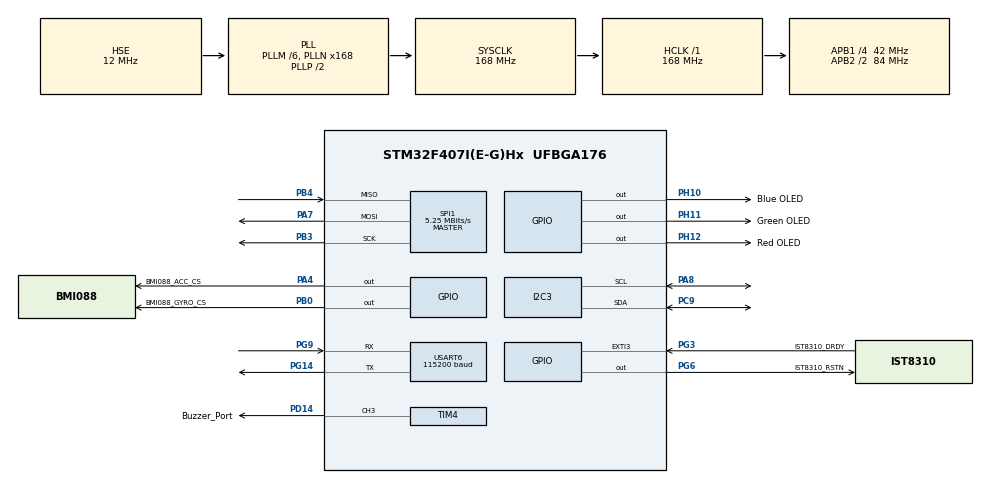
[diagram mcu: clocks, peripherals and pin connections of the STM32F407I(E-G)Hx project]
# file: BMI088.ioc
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Dma.Request0=SPI1_RX
Dma.Request1=SPI1_TX
Dma.Request2=I2C3_RX
Dma.Request3=I2C3_TX
Dma.SPI1_RX.0.Direction=DMA_PERIPH_TO_MEMORY
Dma.SPI1_RX.0.FIFOMode=DMA_FIFOMODE_DISABLE
Dma.SPI1_RX.0.Instance=DMA2_Stream0
Dma.SPI1_RX.0.MemDataAlignment=DMA_MDATAALIGN_BYTE
Dma.SPI1_RX.0.MemInc=DMA_MINC_ENABLE
Dma.SPI1_RX.0.Mode=DMA_NORMAL
Dma.SPI1_RX.0.PeriphDataAlignment=DMA_PDATAALIGN_BYTE
Dma.SPI1_RX.0.PeriphInc=DMA_PINC_DISABLE
Dma.SPI1_RX.0.Priority=DMA_PRIORITY_HIGH
Dma.SPI1_TX.1.Direction=DMA_MEMORY_TO_PERIPH
Dma.SPI1_TX.1.FIFOMode=DMA_FIFOMODE_DISABLE
Dma.SPI1_TX.1.Instance=DMA2_Stream3
Dma.SPI1_TX.1.MemDataAlignment=DMA_MDATAALIGN_BYTE
Dma.SPI1_TX.1.MemInc=DMA_MINC_ENABLE
Dma.SPI1_TX.1.Mode=DMA_NORMAL
Dma.SPI1_TX.1.PeriphDataAlignment=DMA_PDATAALIGN_BYTE
Dma.SPI1_TX.1.PeriphInc=DMA_PINC_DISABLE
Dma.SPI1_TX.1.Priority=DMA_PRIORITY_HIGH
Dma.I2C3_RX.2.Direction=DMA_PERIPH_TO_MEMORY
Dma.I2C3_RX.2.FIFOMode=DMA_FIFOMODE_DISABLE
Dma.I2C3_RX.2.Instance=DMA1_Stream2
Dma.I2C3_RX.2.MemDataAlignment=DMA_MDATAALIGN_BYTE
Dma.I2C3_RX.2.MemInc=DMA_MINC_ENABLE
Dma.I2C3_RX.2.Mode=DMA_NORMAL
Dma.I2C3_RX.2.PeriphDataAlignment=DMA_PDATAALIGN_BYTE
Dma.I2C3_RX.2.PeriphInc=DMA_PINC_DISABLE
Dma.I2C3_RX.2.Priority=DMA_PRIORITY_HIGH
Dma.I2C3_TX.3.Direction=DMA_MEMORY_TO_PERIPH
Dma.I2C3_TX.3.FIFOMode=DMA_FIFOMODE_DISABLE
Dma.I2C3_TX.3.Instance=DMA1_Stream4
Dma.I2C3_TX.3.MemDataAlignment=DMA_MDATAALIGN_BYTE
Dma.I2C3_TX.3.MemInc=DMA_MINC_ENABLE
Dma.I2C3_TX.3.Mode=DMA_NORMAL
Dma.I2C3_TX.3.PeriphDataAlignment=DMA_PDATAALIGN_BYTE
Dma.I2C3_TX.3.PeriphInc=DMA_PINC_DISABLE
Dma.I2C3_TX.3.Priority=DMA_PRIORITY_HIGH
I2C3.I2C_Mode=I2C_Fast
Mcu.Family=STM32F4
Mcu.Name=STM32F407I(E-G)Hx
Mcu.Package=UFBGA176
NVIC.DMA1_Stream2_IRQn=true\:5\:0\:true\:false\:false\:false\:true\:true
NVIC.DMA1_Stream4_IRQn=true\:5\:0\:true\:false\:false\:false\:true\:true
NVIC.DMA2_Stream0_IRQn=true\:5\:0\:true\:false\:false\:false\:true\:true
NVIC.DMA2_Stream3_IRQn=true\:4\:0\:true\:false\:false\:false\:true\:true
NVIC.EXTI3_IRQn=true\:5\:0\:true\:false\:true\:true\:true\:true
NVIC.I2C3_ER_IRQn=true\:5\:0\:true\:false\:true\:true\:true\:true
NVIC.I2C3_EV_IRQn=true\:5\:0\:true\:false\:true\:true\:true\:true
NVIC.PriorityGroup=NVIC_PRIORITYGROUP_4
NVIC.SPI1_IRQn=true\:5\:0\:true\:false\:true\:true\:true\:true
NVIC.TIM8_UP_TIM13_IRQn=true\:5\:0\:false\:false\:true\:true\:true\:true\:true
PA13.Mode=Serial_Wire
PA13.Signal=SYS_JTMS-SWDIO
PA14.Mode=Serial_Wire
PA14.Signal=SYS_JTCK-SWCLK
PA4.GPIO_Label=BMI088_ACC_CS
PA4.GPIO_ModeDefaultOutputPP=GPIO_MODE_OUTPUT_PP
PA4.GPIO_PuPd=GPIO_NOPULL
PA4.PinState=GPIO_PIN_SET
PA4.Signal=GPIO_Output
PA7.Mode=Full_Duplex_Master
PA7.Signal=SPI1_MOSI
PA8.Mode=I2C
PA8.Signal=I2C3_SCL
PB0.GPIO_Label=BMI088_GYRO_CS
PB0.GPIO_ModeDefaultOutputPP=GPIO_MODE_OUTPUT_PP
PB0.GPIO_PuPd=GPIO_NOPULL
PB0.PinState=GPIO_PIN_SET
PB0.Signal=GPIO_Output
PB3.Mode=Full_Duplex_Master
PB3.Signal=SPI1_SCK
PB4.Mode=Full_Duplex_Master
PB4.Signal=SPI1_MISO
PC9.Mode=I2C
PC9.Signal=I2C3_SDA
PD14.GPIO_Label=Buzzer_Port
PD14.Signal=S_TIM4_CH3
PG14.Mode=Asynchronous
PG14.Signal=USART6_TX
PG6.GPIO_Label=IST8310_RSTN
PG6.GPIO_ModeDefaultOutputPP=GPIO_MODE_OUTPUT_PP
PG6.GPIO_PuPd=GPIO_PULLUP
PG6.GPIO_Speed=GPIO_SPEED_FREQ_MEDIUM
PG6.PinState=GPIO_PIN_SET
PG6.Signal=GPIO_Output
PG3.GPIO_Label=IST8310_DRDY
PG3.GPIO_ModeDefaultEXTI=GPIO_MODE_IT_RISING
PG3.GPIO_PuPd=GPIO_NOPULL
PG3.Signal=GPXTI3
PG9.Mode=Asynchronous
PG9.Signal=USART6_RX
PH0-OSC_IN.Mode=HSE-External-Oscillator
PH0-OSC_IN.Signal=RCC_OSC_IN
PH1-OSC_OUT.Mode=HSE-External-Oscillator
PH1-OSC_OUT.Signal=RCC_OSC_OUT
PH10.GPIO_Label=Blue OLED
PH10.Signal=GPIO_Output
PH11.GPIO_Label=Green OLED
PH11.Signal=GPIO_Output
PH12.GPIO_Label=Red OLED
PH12.Signal=GPIO_Output
ProjectManager.HeapSize=0x200
ProjectManager.StackSize=0x400
ProjectManager.TargetToolchain=CMake
RCC.48MHZClocksFreq_Value=48000000
RCC.AHBFreq_Value=168000000
RCC.APB1CLKDivider=RCC_HCLK_DIV4
RCC.APB1Freq_Value=42000000
RCC.APB1TimFreq_Value=84000000
RCC.APB2CLKDivider=RCC_HCLK_DIV2
RCC.APB2Freq_Value=84000000
RCC.APB2TimFreq_Value=168000000
RCC.CortexFreq_Value=168000000
RCC.HCLKFreq_Value=168000000
RCC.HSE_VALUE=12000000
RCC.HSI_VALUE=16000000
RCC.LSE_VALUE=32768
RCC.PLLM=6
RCC.PLLN=168
RCC.PLLQ=7
RCC.PLLSourceVirtual=RCC_PLLSOURCE_HSE
RCC.SYSCLKFreq_VALUE=168000000
RCC.SYSCLKSource=RCC_SYSCLKSOURCE_PLLCLK
RCC.VCOOutputFreq_Value=336000000
SH.S_TIM4_CH3.0=TIM4_CH3,PWM Generation3 CH3
SPI1.BaudRatePrescaler=SPI_BAUDRATEPRESCALER_16
SPI1.CalculateBaudRate=5.25 MBits/s
SPI1.Direction=SPI_DIRECTION_2LINES
SPI1.Mode=SPI_MODE_MASTER
SPI1.VirtualType=VM_MASTER
TIM4.Channel-PWM\ Generation3\ CH3=TIM_CHANNEL_3
TIM4.Prescaler=84-1
TIM8.Period=999
TIM8.Prescaler=167
USART6.BaudRate=115200
USART6.VirtualMode=VM_ASYNC
VP_TIM8_VS_ClockSourceINT.Mode=Internal
board=custom

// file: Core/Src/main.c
/* USER CODE BEGIN Header */
/**
  ******************************************************************************
  * @file           : main.c
  * @brief          : Main program body
  ******************************************************************************
  * @attention
  *
  * Copyright (c) 2026 STMicroelectronics.
  * All rights reserved.
  *
  * This software is licensed under terms that can be found in the LICENSE file
  * in the root directory of this software component.
  * If no LICENSE file comes with this software, it is provided AS-IS.
  *
  ******************************************************************************
  */
/* USER CODE END Header */
#include "main.h"

/* USER CODE BEGIN Includes */
#include "BMI088.h"
#include "IST8310.h"
#include "Attitude.h"

/* USER CODE END Includes */

I2C_HandleTypeDef hi2c3;
DMA_HandleTypeDef hdma_i2c3_rx;
DMA_HandleTypeDef hdma_i2c3_tx;

SPI_HandleTypeDef hspi1;
DMA_HandleTypeDef hdma_spi1_rx;
DMA_HandleTypeDef hdma_spi1_tx;

TIM_HandleTypeDef htim4;
TIM_HandleTypeDef htim8;

UART_HandleTypeDef huart6;

/* USER CODE BEGIN PV */
static BMI088_Data_t BMI088_DATA;
static IST8310_Data_t MAG_DATA;
static Attitude_StartupAverage_t STARTUP_AVERAGE;
static Attitude_Data_t ATTITUDE_DATA;
static uint8_t BMI088_STATUS;
static uint8_t IST8310_STATUS;

/* USER CODE END PV */

void SystemClock_Config(void);
static void MX_GPIO_Init(void);
static void MX_DMA_Init(void);
static void MX_I2C3_Init(void);
static void MX_SPI1_Init(void);
static void MX_USART6_UART_Init(void);
static void MX_TIM4_Init(void);
static void MX_TIM8_Init(void);

int main(void)
{

  /* MCU Configuration--------------------------------------------------------*/

  /* Reset of all peripherals, Initializes the Flash interface and the Systick. */
  HAL_Init();

  /* Configure the system clock */
  SystemClock_Config();

  /* Initialize all configured peripherals */
  MX_GPIO_Init();
  MX_DMA_Init();
  MX_I2C3_Init();
  MX_SPI1_Init();
  MX_USART6_UART_Init();
  MX_TIM4_Init();
  MX_TIM8_Init();
  /* USER CODE BEGIN 2 */
  BMI088_STATUS = BMI088_Init(&hspi1);
  if (BMI088_STATUS != BMI088_OK)
  {
    Error_Handler();
  }

  HAL_Delay(500u);
  BMI088_STATUS = BMI088_CalibrateGyro(2000u);
  if (BMI088_STATUS != BMI088_OK)
  {
    Error_Handler();
  }

  IST8310_STATUS = IST8310_Init(&hi2c3);
  if (IST8310_STATUS != IST8310_OK)
  {
    Error_Handler();
  }

  Attitude_Init();

  if (HAL_TIM_Base_Start_IT(&htim8) != HAL_OK)
  {
    Error_Handler();
  }

  if (Attitude_CollectStartupAverage(&STARTUP_AVERAGE) == 0u)
  {
    Error_Handler();
  }

  if (Attitude_InitializeQuaternion(&STARTUP_AVERAGE) == 0u)
  {
    Error_Handler();
  }

  /* USER CODE END 2 */

  /* Infinite loop */
  /* USER CODE BEGIN WHILE */
  while (1)
  {
    IST8310_Update();

    if (BMI088_IsSampleReady() != 0u)
    {
      const IST8310_Data_t *mag = NULL;

      BMI088_ProcessSample();
      BMI088_GetData(&BMI088_DATA);

      if (IST8310_GetValidData(&MAG_DATA) != 0u)
      {
        mag = &MAG_DATA;
      }

      Attitude_Update(&BMI088_DATA, mag, 0.001f);
      Attitude_GetData(&ATTITUDE_DATA);
    }

    /* USER CODE END WHILE */

  }
}

void SystemClock_Config(void)
{
  RCC_OscInitTypeDef RCC_OscInitStruct = {0};
  RCC_ClkInitTypeDef RCC_ClkInitStruct = {0};

  /** Configure the main internal regulator output voltage
  */
  __HAL_RCC_PWR_CLK_ENABLE();
  __HAL_PWR_VOLTAGESCALING_CONFIG(PWR_REGULATOR_VOLTAGE_SCALE1);

  /** Initializes the RCC Oscillators according to the specified parameters
  * in the RCC_OscInitTypeDef structure.
  */
  RCC_OscInitStruct.OscillatorType = RCC_OSCILLATORTYPE_HSE;
  RCC_OscInitStruct.HSEState = RCC_HSE_ON;
  RCC_OscInitStruct.PLL.PLLState = RCC_PLL_ON;
  RCC_OscInitStruct.PLL.PLLSource = RCC_PLLSOURCE_HSE;
  RCC_OscInitStruct.PLL.PLLM = 6;
  RCC_OscInitStruct.PLL.PLLN = 168;
  RCC_OscInitStruct.PLL.PLLP = RCC_PLLP_DIV2;
  RCC_OscInitStruct.PLL.PLLQ = 7;
  if (HAL_RCC_OscConfig(&RCC_OscInitStruct) != HAL_OK)
  {
    Error_Handler();
  }

  /** Initializes the CPU, AHB and APB buses clocks
  */
  RCC_ClkInitStruct.ClockType = RCC_CLOCKTYPE_HCLK|RCC_CLOCKTYPE_SYSCLK
                              |RCC_CLOCKTYPE_PCLK1|RCC_CLOCKTYPE_PCLK2;
  RCC_ClkInitStruct.SYSCLKSource = RCC_SYSCLKSOURCE_PLLCLK;
  RCC_ClkInitStruct.AHBCLKDivider = RCC_SYSCLK_DIV1;
  RCC_ClkInitStruct.APB1CLKDivider = RCC_HCLK_DIV4;
  RCC_ClkInitStruct.APB2CLKDivider = RCC_HCLK_DIV2;

  if (HAL_RCC_ClockConfig(&RCC_ClkInitStruct, FLASH_LATENCY_5) != HAL_OK)
  {
    Error_Handler();
  }
}

static void MX_I2C3_Init(void)
{

  hi2c3.Instance = I2C3;
  hi2c3.Init.ClockSpeed = 400000;
  hi2c3.Init.DutyCycle = I2C_DUTYCYCLE_2;
  hi2c3.Init.OwnAddress1 = 0;
  hi2c3.Init.AddressingMode = I2C_ADDRESSINGMODE_7BIT;
  hi2c3.Init.DualAddressMode = I2C_DUALADDRESS_DISABLE;
  hi2c3.Init.OwnAddress2 = 0;
  hi2c3.Init.GeneralCallMode = I2C_GENERALCALL_DISABLE;
  hi2c3.Init.NoStretchMode = I2C_NOSTRETCH_DISABLE;
  if (HAL_I2C_Init(&hi2c3) != HAL_OK)
  {
    Error_Handler();
  }

}

static void MX_SPI1_Init(void)
{

  /* SPI1 parameter configuration*/
  hspi1.Instance = SPI1;
  hspi1.Init.Mode = SPI_MODE_MASTER;
  hspi1.Init.Direction = SPI_DIRECTION_2LINES;
  hspi1.Init.DataSize = SPI_DATASIZE_8BIT;
  hspi1.Init.CLKPolarity = SPI_POLARITY_LOW;
  hspi1.Init.CLKPhase = SPI_PHASE_1EDGE;
  hspi1.Init.NSS = SPI_NSS_SOFT;
  hspi1.Init.BaudRatePrescaler = SPI_BAUDRATEPRESCALER_16;
  hspi1.Init.FirstBit = SPI_FIRSTBIT_MSB;
  hspi1.Init.TIMode = SPI_TIMODE_DISABLE;
  hspi1.Init.CRCCalculation = SPI_CRCCALCULATION_DISABLE;
  hspi1.Init.CRCPolynomial = 10;
  if (HAL_SPI_Init(&hspi1) != HAL_OK)
  {
    Error_Handler();
  }

}

static void MX_TIM4_Init(void)
{

  TIM_MasterConfigTypeDef sMasterConfig = {0};
  TIM_OC_InitTypeDef sConfigOC = {0};

  htim4.Instance = TIM4;
  htim4.Init.Prescaler = 84-1;
  htim4.Init.CounterMode = TIM_COUNTERMODE_UP;
  htim4.Init.Period = 65535;
  htim4.Init.ClockDivision = TIM_CLOCKDIVISION_DIV1;
  htim4.Init.AutoReloadPreload = TIM_AUTORELOAD_PRELOAD_DISABLE;
  if (HAL_TIM_PWM_Init(&htim4) != HAL_OK)
  {
    Error_Handler();
  }
  sMasterConfig.MasterOutputTrigger = TIM_TRGO_RESET;
  sMasterConfig.MasterSlaveMode = TIM_MASTERSLAVEMODE_DISABLE;
  if (HAL_TIMEx_MasterConfigSynchronization(&htim4, &sMasterConfig) != HAL_OK)
  {
    Error_Handler();
  }
  sConfigOC.OCMode = TIM_OCMODE_PWM1;
  sConfigOC.Pulse = 0;
  sConfigOC.OCPolarity = TIM_OCPOLARITY_HIGH;
  sConfigOC.OCFastMode = TIM_OCFAST_DISABLE;
  if (HAL_TIM_PWM_ConfigChannel(&htim4, &sConfigOC, TIM_CHANNEL_3) != HAL_OK)
  {
    Error_Handler();
  }
  HAL_TIM_MspPostInit(&htim4);

}

static void MX_TIM8_Init(void)
{

  TIM_ClockConfigTypeDef sClockSourceConfig = {0};
  TIM_MasterConfigTypeDef sMasterConfig = {0};

  htim8.Instance = TIM8;
  htim8.Init.Prescaler = 167;
  htim8.Init.CounterMode = TIM_COUNTERMODE_UP;
  htim8.Init.Period = 999;
  htim8.Init.ClockDivision = TIM_CLOCKDIVISION_DIV1;
  htim8.Init.RepetitionCounter = 0;
  htim8.Init.AutoReloadPreload = TIM_AUTORELOAD_PRELOAD_DISABLE;
  if (HAL_TIM_Base_Init(&htim8) != HAL_OK)
  {
    Error_Handler();
  }
  sClockSourceConfig.ClockSource = TIM_CLOCKSOURCE_INTERNAL;
  if (HAL_TIM_ConfigClockSource(&htim8, &sClockSourceConfig) != HAL_OK)
  {
    Error_Handler();
  }
  sMasterConfig.MasterOutputTrigger = TIM_TRGO_RESET;
  sMasterConfig.MasterSlaveMode = TIM_MASTERSLAVEMODE_DISABLE;
  if (HAL_TIMEx_MasterConfigSynchronization(&htim8, &sMasterConfig) != HAL_OK)
  {
    Error_Handler();
  }

}

static void MX_USART6_UART_Init(void)
{

  huart6.Instance = USART6;
  huart6.Init.BaudRate = 115200;
  huart6.Init.WordLength = UART_WORDLENGTH_8B;
  huart6.Init.StopBits = UART_STOPBITS_1;
  huart6.Init.Parity = UART_PARITY_NONE;
  huart6.Init.Mode = UART_MODE_TX_RX;
  huart6.Init.HwFlowCtl = UART_HWCONTROL_NONE;
  huart6.Init.OverSampling = UART_OVERSAMPLING_16;
  if (HAL_UART_Init(&huart6) != HAL_OK)
  {
    Error_Handler();
  }

}

static void MX_DMA_Init(void)
{

  /* DMA controller clock enable */
  __HAL_RCC_DMA1_CLK_ENABLE();
  __HAL_RCC_DMA2_CLK_ENABLE();

  /* DMA interrupt init */
  /* DMA1_Stream2_IRQn interrupt configuration */
  HAL_NVIC_SetPriority(DMA1_Stream2_IRQn, 5, 0);
  HAL_NVIC_EnableIRQ(DMA1_Stream2_IRQn);
  /* DMA1_Stream4_IRQn interrupt configuration */
  HAL_NVIC_SetPriority(DMA1_Stream4_IRQn, 5, 0);
  HAL_NVIC_EnableIRQ(DMA1_Stream4_IRQn);
  /* DMA2_Stream0_IRQn interrupt configuration */
  HAL_NVIC_SetPriority(DMA2_Stream0_IRQn, 5, 0);
  HAL_NVIC_EnableIRQ(DMA2_Stream0_IRQn);
  /* DMA2_Stream3_IRQn interrupt configuration */
  HAL_NVIC_SetPriority(DMA2_Stream3_IRQn, 4, 0);
  HAL_NVIC_EnableIRQ(DMA2_Stream3_IRQn);

}

static void MX_GPIO_Init(void)
{
  GPIO_InitTypeDef GPIO_InitStruct = {0};

  /* GPIO Ports Clock Enable */
  __HAL_RCC_GPIOG_CLK_ENABLE();
  __HAL_RCC_GPIOB_CLK_ENABLE();
  __HAL_RCC_GPIOA_CLK_ENABLE();
  __HAL_RCC_GPIOC_CLK_ENABLE();
  __HAL_RCC_GPIOH_CLK_ENABLE();
  __HAL_RCC_GPIOD_CLK_ENABLE();

  /*Configure GPIO pin Output Level */
  HAL_GPIO_WritePin(IST8310_RSTN_GPIO_Port, IST8310_RSTN_Pin, GPIO_PIN_SET);

  /*Configure GPIO pin Output Level */
  HAL_GPIO_WritePin(GPIOH, Red_OLED_Pin|Green_OLED_Pin|Blue_OLED_Pin, GPIO_PIN_RESET);

  /*Configure GPIO pin Output Level */
  HAL_GPIO_WritePin(BMI088_ACC_CS_GPIO_Port, BMI088_ACC_CS_Pin, GPIO_PIN_SET);

  /*Configure GPIO pin Output Level */
  HAL_GPIO_WritePin(BMI088_GYRO_CS_GPIO_Port, BMI088_GYRO_CS_Pin, GPIO_PIN_SET);

  /*Configure GPIO pin : IST8310_RSTN_Pin */
  GPIO_InitStruct.Pin = IST8310_RSTN_Pin;
  GPIO_InitStruct.Mode = GPIO_MODE_OUTPUT_PP;
  GPIO_InitStruct.Pull = GPIO_PULLUP;
  GPIO_InitStruct.Speed = GPIO_SPEED_FREQ_MEDIUM;
  HAL_GPIO_Init(IST8310_RSTN_GPIO_Port, &GPIO_InitStruct);

  /*Configure GPIO pin : IST8310_DRDY_Pin */
  GPIO_InitStruct.Pin = IST8310_DRDY_Pin;
  GPIO_InitStruct.Mode = GPIO_MODE_IT_RISING;
  GPIO_InitStruct.Pull = GPIO_NOPULL;
  HAL_GPIO_Init(IST8310_DRDY_GPIO_Port, &GPIO_InitStruct);

  HAL_NVIC_SetPriority(EXTI3_IRQn, 5, 0);
  HAL_NVIC_EnableIRQ(EXTI3_IRQn);

  /*Configure GPIO pins : Red_OLED_Pin Green_OLED_Pin Blue_OLED_Pin */
  GPIO_InitStruct.Pin = Red_OLED_Pin|Green_OLED_Pin|Blue_OLED_Pin;
  GPIO_InitStruct.Mode = GPIO_MODE_OUTPUT_PP;
  GPIO_InitStruct.Pull = GPIO_NOPULL;
  GPIO_InitStruct.Speed = GPIO_SPEED_FREQ_LOW;
  HAL_GPIO_Init(GPIOH, &GPIO_InitStruct);

  /*Configure GPIO pin : BMI088_ACC_CS_Pin */
  GPIO_InitStruct.Pin = BMI088_ACC_CS_Pin;
  GPIO_InitStruct.Mode = GPIO_MODE_OUTPUT_PP;
  GPIO_InitStruct.Pull = GPIO_NOPULL;
  GPIO_InitStruct.Speed = GPIO_SPEED_FREQ_LOW;
  HAL_GPIO_Init(BMI088_ACC_CS_GPIO_Port, &GPIO_InitStruct);

  /*Configure GPIO pin : BMI088_GYRO_CS_Pin */
  GPIO_InitStruct.Pin = BMI088_GYRO_CS_Pin;
  GPIO_InitStruct.Mode = GPIO_MODE_OUTPUT_PP;
  GPIO_InitStruct.Pull = GPIO_NOPULL;
  GPIO_InitStruct.Speed = GPIO_SPEED_FREQ_LOW;
  HAL_GPIO_Init(BMI088_GYRO_CS_GPIO_Port, &GPIO_InitStruct);

}

/* USER CODE BEGIN 4 */

void HAL_TIM_PeriodElapsedCallback(TIM_HandleTypeDef *htim)
{
  if (htim->Instance == TIM8)
  {
    static uint8_t ist8310_tick = 0u;

    (void)BMI088_StartSample();

    ist8310_tick++;
    if (ist8310_tick >= 10u)
    {
      ist8310_tick = 0u;
      (void)IST8310_StartSample();
    }
  }
}

void HAL_SPI_TxRxCpltCallback(SPI_HandleTypeDef *hspi)
{
  BMI088_SPI_TxRxCpltCallback(hspi);
}

void HAL_SPI_ErrorCallback(SPI_HandleTypeDef *hspi)
{
  BMI088_SPI_ErrorCallback(hspi);
}

void HAL_I2C_MemRxCpltCallback(I2C_HandleTypeDef *hi2c)
{
  IST8310_I2C_MemRxCpltCallback(hi2c);
}

void HAL_I2C_MemTxCpltCallback(I2C_HandleTypeDef *hi2c)
{
  IST8310_I2C_MemTxCpltCallback(hi2c);
}

void HAL_I2C_ErrorCallback(I2C_HandleTypeDef *hi2c)
{
  IST8310_I2C_ErrorCallback(hi2c);
}

void HAL_GPIO_EXTI_Callback(uint16_t GPIO_Pin)
{
  if (GPIO_Pin == IST8310_DRDY_Pin)
  {
    IST8310_DRDY_IRQHandler();
  }
}

/* USER CODE END 4 */

void Error_Handler(void)
{
  __disable_irq();
  while (1)
  {
  }
}
